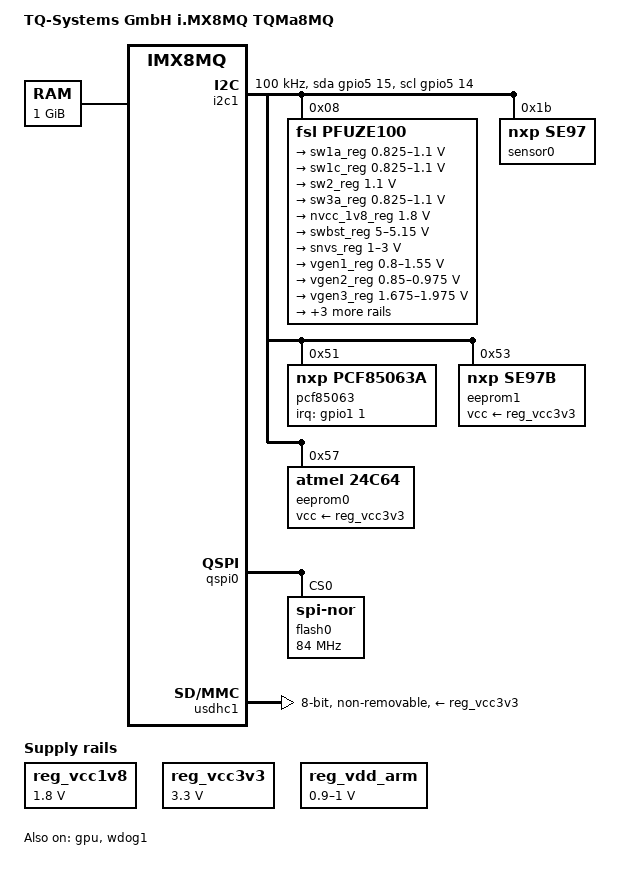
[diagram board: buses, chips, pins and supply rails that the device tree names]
// SPDX-License-Identifier: (GPL-2.0-or-later OR MIT)
/*
 * Copyright 2019-2021 TQ-Systems GmbH
 */

#include "imx8mq.dtsi"

/ {
	model = "TQ-Systems GmbH i.MX8MQ TQMa8MQ";
	compatible = "tq,imx8mq-tqma8mq", "fsl,imx8mq";

	memory@40000000 {
		device_type = "memory";
		/*  our minimum RAM config will be 1024 MiB */
		reg = <0x00000000 0x40000000 0 0x40000000>;
	};

	/* e-MMC IO, needed for HS modes */
	reg_vcc1v8: regulator-vcc1v8 {
		compatible = "regulator-fixed";
		regulator-name = "TQMA8MX_VCC1V8";
		regulator-min-microvolt = <1800000>;
		regulator-max-microvolt = <1800000>;
	};

	reg_vcc3v3: regulator-vcc3v3 {
		compatible = "regulator-fixed";
		regulator-name = "TQMA8MX_VCC3V3";
		regulator-min-microvolt = <3300000>;
		regulator-max-microvolt = <3300000>;
	};

	reg_vdd_arm: regulator-vdd-arm {
		compatible = "regulator-gpio";
		pinctrl-names = "default";
		pinctrl-0 = <&pinctrl_dvfs>;
		regulator-min-microvolt = <900000>;
		regulator-max-microvolt = <1000000>;
		regulator-name = "TQMa8Mx_DVFS";
		regulator-type = "voltage";
		regulator-settling-time-us = <150000>;
		gpios = <&gpio1 6 GPIO_ACTIVE_LOW>;
		states = <900000 0x1 1000000 0x0>;
	};

	reserved-memory {
		#address-cells = <2>;
		#size-cells = <2>;
		ranges;

		/* global autoconfigured region for contiguous allocations */
		linux,cma {
			compatible = "shared-dma-pool";
			reusable;
			/* 640 MiB */
			size = <0 0x28000000>;
			/*  1024 - 128 MiB, our minimum RAM config will be 1024 MiB */
			alloc-ranges = <0 0x40000000 0 0x78000000>;
			linux,cma-default;
		};
	};
};

&A53_0 {
	cpu-supply = <&reg_vdd_arm>;
};

&A53_1 {
	cpu-supply = <&reg_vdd_arm>;
};

&A53_2 {
	cpu-supply = <&reg_vdd_arm>;
};

&A53_3 {
	cpu-supply = <&reg_vdd_arm>;
};

&gpu {
	status = "okay";
};

&pgc_gpu {
	power-supply = <&sw1a_reg>;
};

&pgc_vpu {
	power-supply = <&sw1c_reg>;
};

&i2c1 {
	clock-frequency = <100000>;
	pinctrl-names = "default", "gpio";
	pinctrl-0 = <&pinctrl_i2c1>;
	pinctrl-1 = <&pinctrl_i2c1_gpio>;
	scl-gpios = <&gpio5 14 (GPIO_ACTIVE_HIGH | GPIO_OPEN_DRAIN)>;
	sda-gpios = <&gpio5 15 (GPIO_ACTIVE_HIGH | GPIO_OPEN_DRAIN)>;
	status = "okay";

	pfuze100: pmic@8 {
		compatible = "fsl,pfuze100";
		fsl,pfuze-support-disable-sw;
		reg = <0x8>;

		regulators {
			/* VDD_GPU */
			sw1a_reg: sw1ab {
				regulator-min-microvolt = <825000>;
				regulator-max-microvolt = <1100000>;
			};

			/* VDD_VPU */
			sw1c_reg: sw1c {
				regulator-min-microvolt = <825000>;
				regulator-max-microvolt = <1100000>;
			};

			/* NVCC_DRAM */
			sw2_reg: sw2 {
				regulator-min-microvolt = <1100000>;
				regulator-max-microvolt = <1100000>;
				regulator-always-on;
			};

			/* VDD_DRAM */
			sw3a_reg: sw3ab {
				regulator-min-microvolt = <825000>;
				regulator-max-microvolt = <1100000>;
				regulator-always-on;
			};

			/* 1.8 V for QSPI NOR, e-MMC IO, must not be changed */
			nvcc_1v8_reg: sw4 {
				regulator-min-microvolt = <1800000>;
				regulator-max-microvolt = <1800000>;
				regulator-always-on;
			};

			swbst_reg: swbst {
				regulator-min-microvolt = <5000000>;
				regulator-max-microvolt = <5150000>;
			};

			snvs_reg: vsnvs {
				regulator-min-microvolt = <1000000>;
				regulator-max-microvolt = <3000000>;
				regulator-always-on;
			};

			vref_reg: vrefddr {
				regulator-always-on;
			};

			/* not used */
			vgen1_reg: vgen1 {
				regulator-min-microvolt = <800000>;
				regulator-max-microvolt = <1550000>;
			};

			/* VDD_PHY_0V9 */
			vgen2_reg: vgen2 {
				regulator-min-microvolt = <850000>;
				regulator-max-microvolt = <975000>;
				regulator-always-on;
			};

			/* VDD_PHY_1V8 */
			vgen3_reg: vgen3 {
				regulator-min-microvolt = <1675000>;
				regulator-max-microvolt = <1975000>;
				regulator-always-on;
			};

			/* VDDA_1V8 */
			vgen4_reg: vgen4 {
				regulator-min-microvolt = <1625000>;
				regulator-max-microvolt = <1875000>;
				regulator-always-on;
			};

			/* VDD_PHY_3V3 */
			vgen5_reg: vgen5 {
				regulator-min-microvolt = <3075000>;
				regulator-max-microvolt = <3625000>;
				regulator-always-on;
			};

			/* not used */
			vgen6_reg: vgen6 {
				regulator-min-microvolt = <1800000>;
				regulator-max-microvolt = <3300000>;
			};
		};
	};

	sensor0: temperature-sensor-eeprom@1b {
		compatible = "nxp,se97", "jedec,jc-42.4-temp";
		reg = <0x1b>;
	};

	pcf85063: rtc@51 {
		compatible = "nxp,pcf85063a";
		reg = <0x51>;
		pinctrl-names = "default";
		pinctrl-0 = <&pinctrl_rtc>;
		interrupt-parent = <&gpio1>;
		interrupts = <1 IRQ_TYPE_EDGE_FALLING>;
		quartz-load-femtofarads = <7000>;

		clock {
			compatible = "fixed-clock";
			#clock-cells = <0>;
			clock-frequency = <32768>;
		};
	};

	eeprom1: eeprom@53 {
		compatible = "nxp,se97b", "atmel,24c02";
		reg = <0x53>;
		pagesize = <16>;
		read-only;
		vcc-supply = <&reg_vcc3v3>;
	};

	eeprom0: eeprom@57 {
		compatible = "atmel,24c64";
		reg = <0x57>;
		pagesize = <32>;
		vcc-supply = <&reg_vcc3v3>;
	};
};

&pcie0 {
	/* 3.3V supply, only way to switch on internal 1.8V supply using GPR */
	vph-supply = <&vgen5_reg>;
};

&pcie1 {
	/* 3.3V supply, only way to switch on internal 1.8V supply using GPR */
	vph-supply = <&vgen5_reg>;
};

&qspi0 {
	pinctrl-names = "default";
	pinctrl-0 = <&pinctrl_qspi>;
	assigned-clocks = <&clk IMX8MQ_CLK_QSPI>;
	assigned-clock-parents = <&clk IMX8MQ_SYS1_PLL_266M>;
	status = "okay";

	flash0: flash@0 {
		compatible = "jedec,spi-nor";
		reg = <0>;
		#address-cells = <1>;
		#size-cells = <1>;
		spi-max-frequency = <84000000>;
		spi-tx-bus-width = <1>;
		spi-rx-bus-width = <4>;
	};
};

&usdhc1 {
	pinctrl-names = "default", "state_100mhz", "state_200mhz";
	pinctrl-0 = <&pinctrl_usdhc1>;
	pinctrl-1 = <&pinctrl_usdhc1_100mhz>;
	pinctrl-2 = <&pinctrl_usdhc1_200mhz>;
	bus-width = <8>;
	non-removable;
	no-sd;
	no-sdio;
	vmmc-supply = <&reg_vcc3v3>;
	vqmmc-supply = <&reg_vcc1v8>;
	status = "okay";
};

/* Attention: wdog reset forcing POR needs baseboard support */
&wdog1 {
	status = "okay";
};

&iomuxc {
	pinctrl_dvfs: dvfsgrp {
		fsl,pins = <MX8MQ_IOMUXC_GPIO1_IO06_GPIO1_IO6	0x16>;
	};

	pinctrl_i2c1: i2c1grp {
		fsl,pins = <MX8MQ_IOMUXC_I2C1_SCL_I2C1_SCL		0x4000007f>,
			   <MX8MQ_IOMUXC_I2C1_SDA_I2C1_SDA		0x4000007f>;
	};

	pinctrl_i2c1_gpio: i2c1gpiogrp {
		fsl,pins = <MX8MQ_IOMUXC_I2C1_SCL_GPIO5_IO14		0x40000074>,
			   <MX8MQ_IOMUXC_I2C1_SDA_GPIO5_IO15		0x40000074>;
	};

	pinctrl_qspi: qspigrp {
		fsl,pins = <MX8MQ_IOMUXC_NAND_ALE_QSPI_A_SCLK		0x97>,
			   <MX8MQ_IOMUXC_NAND_CE0_B_QSPI_A_SS0_B	0x82>,
			   <MX8MQ_IOMUXC_NAND_DATA00_QSPI_A_DATA0	0x97>,
			   <MX8MQ_IOMUXC_NAND_DATA01_QSPI_A_DATA1	0x97>,
			   <MX8MQ_IOMUXC_NAND_DATA02_QSPI_A_DATA2	0x97>,
			   <MX8MQ_IOMUXC_NAND_DATA03_QSPI_A_DATA3	0x97>;
	};

	pinctrl_rtc: rtcgrp {
		fsl,pins = <MX8MQ_IOMUXC_GPIO1_IO01_GPIO1_IO1		0x41>;
	};

	pinctrl_usdhc1: usdhc1grp {
		fsl,pins = <MX8MQ_IOMUXC_SD1_CLK_USDHC1_CLK		0x83>,
			   <MX8MQ_IOMUXC_SD1_CMD_USDHC1_CMD		0xc3>,
			   <MX8MQ_IOMUXC_SD1_DATA0_USDHC1_DATA0		0xc3>,
			   <MX8MQ_IOMUXC_SD1_DATA1_USDHC1_DATA1		0xc3>,
			   <MX8MQ_IOMUXC_SD1_DATA2_USDHC1_DATA2		0xc3>,
			   <MX8MQ_IOMUXC_SD1_DATA3_USDHC1_DATA3		0xc3>,
			   <MX8MQ_IOMUXC_SD1_DATA4_USDHC1_DATA4		0xc3>,
			   <MX8MQ_IOMUXC_SD1_DATA5_USDHC1_DATA5		0xc3>,
			   <MX8MQ_IOMUXC_SD1_DATA6_USDHC1_DATA6		0xc3>,
			   <MX8MQ_IOMUXC_SD1_DATA7_USDHC1_DATA7		0xc3>,
			   <MX8MQ_IOMUXC_SD1_STROBE_USDHC1_STROBE	0x83>,
			   <MX8MQ_IOMUXC_SD1_RESET_B_USDHC1_RESET_B	0xc1>;
	};

	pinctrl_usdhc1_100mhz: usdhc1-100mhzgrp {
		fsl,pins = <MX8MQ_IOMUXC_SD1_CLK_USDHC1_CLK		0x85>,
			   <MX8MQ_IOMUXC_SD1_CMD_USDHC1_CMD		0xc5>,
			   <MX8MQ_IOMUXC_SD1_DATA0_USDHC1_DATA0		0xc5>,
			   <MX8MQ_IOMUXC_SD1_DATA1_USDHC1_DATA1		0xc5>,
			   <MX8MQ_IOMUXC_SD1_DATA2_USDHC1_DATA2		0xc5>,
			   <MX8MQ_IOMUXC_SD1_DATA3_USDHC1_DATA3		0xc5>,
			   <MX8MQ_IOMUXC_SD1_DATA4_USDHC1_DATA4		0xc5>,
			   <MX8MQ_IOMUXC_SD1_DATA5_USDHC1_DATA5		0xc5>,
			   <MX8MQ_IOMUXC_SD1_DATA6_USDHC1_DATA6		0xc5>,
			   <MX8MQ_IOMUXC_SD1_DATA7_USDHC1_DATA7		0xc5>,
			   <MX8MQ_IOMUXC_SD1_STROBE_USDHC1_STROBE	0x85>,
			   <MX8MQ_IOMUXC_SD1_RESET_B_USDHC1_RESET_B	0xc1>;
	};

	pinctrl_usdhc1_200mhz: usdhc1-200mhzgrp {
		fsl,pins = <MX8MQ_IOMUXC_SD1_CLK_USDHC1_CLK		0x87>,
			   <MX8MQ_IOMUXC_SD1_CMD_USDHC1_CMD		0xc7>,
			   <MX8MQ_IOMUXC_SD1_DATA0_USDHC1_DATA0		0xc7>,
			   <MX8MQ_IOMUXC_SD1_DATA1_USDHC1_DATA1		0xc7>,
			   <MX8MQ_IOMUXC_SD1_DATA2_USDHC1_DATA2		0xc7>,
			   <MX8MQ_IOMUXC_SD1_DATA3_USDHC1_DATA3		0xc7>,
			   <MX8MQ_IOMUXC_SD1_DATA4_USDHC1_DATA4		0xc7>,
			   <MX8MQ_IOMUXC_SD1_DATA5_USDHC1_DATA5		0xc7>,
			   <MX8MQ_IOMUXC_SD1_DATA6_USDHC1_DATA6		0xc7>,
			   <MX8MQ_IOMUXC_SD1_DATA7_USDHC1_DATA7		0xc7>,
			   <MX8MQ_IOMUXC_SD1_STROBE_USDHC1_STROBE	0x87>,
			   <MX8MQ_IOMUXC_SD1_RESET_B_USDHC1_RESET_B	0xc1>;
	};

	pinctrl_wdog: wdoggrp {
		fsl,pins = <MX8MQ_IOMUXC_GPIO1_IO02_WDOG1_WDOG_B	0xc6>;
	};
};
